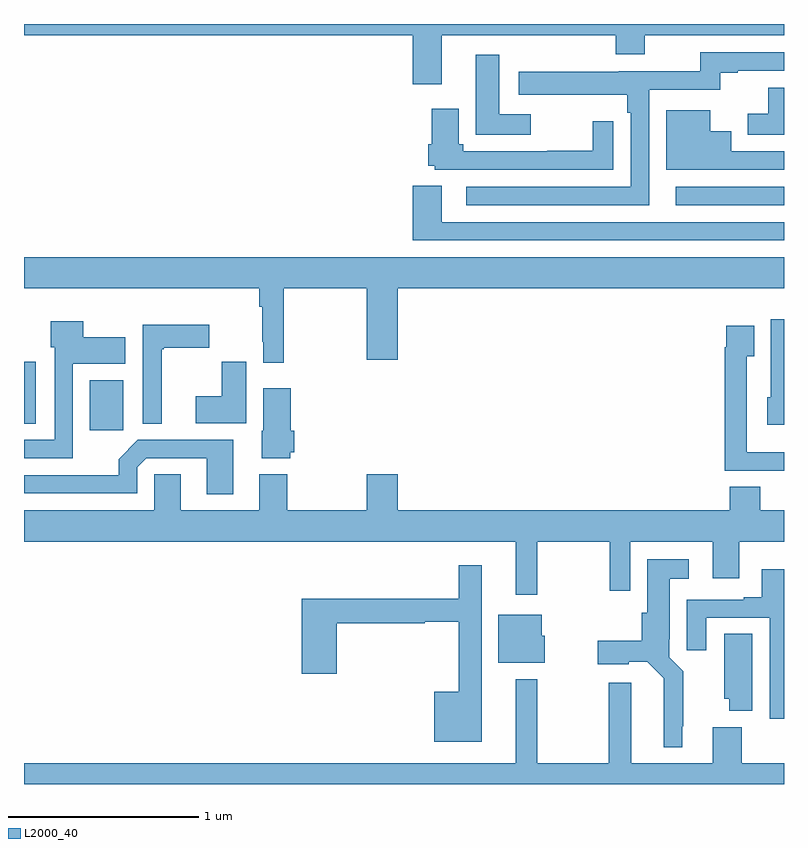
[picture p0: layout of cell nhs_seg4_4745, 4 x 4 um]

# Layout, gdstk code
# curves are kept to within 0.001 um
import gdstk
lib = gdstk.Library(unit=1e-6, precision=1e-09)
def R(c, l, rs):  # rectangles x0, y0, x1, y1
    for r in rs: c.add(gdstk.rectangle(r[:2], r[2:], *l))
def P(c, l, *ps):  # polygons
    for p in ps: c.add(gdstk.Polygon(p, *l))
L2000_40 = (2000, 40)

nhs_seg4_4745 = lib.new_cell('nhs_seg4_4745')
R(nhs_seg4_4745, L2000_40, [(367.346,774.761,367.522,775.024), (367,774.796,367.063,775.123), (370.431,775.947,371,776.043)])
P(nhs_seg4_4745, L2000_40, [(369.199,776.84),(370.115,776.84),(370.115,776.741),(370.267,776.741),(370.267,776.84),(371,776.84),(371,776.9),(367,776.9),(367,776.84),(369.047,776.84),(369.047,776.583),(369.199,776.583)],
  [(370.29,776.553),(370.664,776.553),(370.664,776.643),(370.756,776.643),(370.756,776.655),(371,776.655),(371,776.751),(370.558,776.751),(370.558,776.651),(370.131,776.651),(370.131,776.65),(369.603,776.65),(369.603,776.528),(370.174,776.528),(370.174,776.432),(370.194,776.432),(370.194,776.043),(369.327,776.043),(369.327,775.947),(370.29,775.947)],
  [(369.667,776.425),(369.502,776.425),(369.502,776.737),(369.377,776.737),(369.377,776.318),(369.667,776.318)],
  [(371,776.565),(370.918,776.565),(370.918,776.428),(370.808,776.428),(370.808,776.318),(371,776.318)],
  [(370.101,776.389),(369.993,776.389),(369.993,776.234),(369.754,776.234),(369.754,776.229),(369.311,776.229),(369.311,776.268),(369.289,776.268),(369.289,776.455),(369.146,776.455),(369.146,776.268),(369.128,776.268),(369.128,776.154),(369.162,776.154),(369.162,776.133),(370.101,776.133)],
  [(370.619,776.133),(371,776.133),(371,776.229),(370.723,776.229),(370.723,776.335),(370.612,776.335),(370.612,776.446),(370.379,776.446),(370.379,776.132),(370.619,776.132)],
  [(371,775.857),(369.199,775.857),(369.199,776.048),(369.047,776.048),(369.047,775.761),(371,775.761)],
  [(368.368,775.508),(368.804,775.508),(368.804,775.134),(368.968,775.134),(368.968,775.508),(371,775.508),(371,775.672),(367,775.672),(367,775.508),(368.239,775.508),(368.239,775.412),(368.254,775.412),(368.254,775.228),(368.259,775.228),(368.259,775.116),(368.368,775.116)],
  [(371,775.345),(370.931,775.345),(370.931,774.936),(370.913,774.936),(370.913,774.792),(371,774.792)],
  [(367.257,775.112),(367.534,775.112),(367.534,775.252),(367.311,775.252),(367.311,775.336),(367.142,775.336),(367.142,775.2),(367.161,775.2),(367.161,774.711),(367,774.711),(367,774.615),(367.257,774.615)],
  [(367.724,775.189),(367.735,775.189),(367.735,775.196),(367.975,775.196),(367.975,775.318),(367.626,775.318),(367.626,774.796),(367.724,774.796)],
  [(371,774.646),(370.803,774.646),(370.803,775.151),(370.843,775.151),(370.843,775.312),(370.695,775.312),(370.695,775.199),(370.687,775.199),(370.687,774.549),(370.937,774.549),(370.937,774.548),(371,774.548)],
  [(368.17,775.123),(368.041,775.123),(368.041,774.94),(367.905,774.94),(367.905,774.8),(368.17,774.8)],
  [(368.401,774.645),(368.423,774.645),(368.423,774.759),(368.405,774.759),(368.405,774.982),(368.258,774.982),(368.258,774.759),(368.252,774.759),(368.252,774.614),(368.401,774.614)],
  [(368.101,774.711),(367.599,774.711),(367.498,774.609),(367.498,774.525),(367,774.525),(367,774.429),(367.596,774.429),(367.596,774.567),(367.644,774.615),(367.961,774.615),(367.961,774.426),(368.101,774.426)],
  [(369.701,774.176),(370.083,774.176),(370.083,773.916),(370.191,773.916),(370.191,774.176),(370.625,774.176),(370.625,773.982),(370.765,773.982),(370.765,774.176),(371,774.176),(371,774.34),(370.875,774.34),(370.875,774.464),(370.715,774.464),(370.715,774.34),(368.968,774.34),(368.968,774.529),(368.804,774.529),(368.804,774.34),(368.385,774.34),(368.385,774.529),(368.237,774.529),(368.237,774.34),(367.825,774.34),(367.825,774.53),(367.686,774.53),(367.686,774.34),(367,774.34),(367,774.176),(369.587,774.176),(369.587,773.895),(369.701,773.895)],
  [(370.465,773.203),(370.469,773.203),(370.469,773.494),(370.395,773.568),(370.395,773.662),(370.399,773.662),(370.399,773.981),(370.498,773.981),(370.498,774.082),(370.28,774.082),(370.28,773.802),(370.25,773.802),(370.25,773.653),(370.02,773.653),(370.02,773.531),(370.182,773.531),(370.182,773.543),(370.281,773.543),(370.368,773.456),(370.367,773.093),(370.465,773.093)],
  [(369.409,774.052),(369.288,774.052),(369.288,773.875),(368.462,773.875),(368.462,773.481),(368.645,773.481),(368.645,773.746),(369.109,773.746),(369.109,773.754),(369.288,773.754),(369.288,773.386),(369.158,773.386),(369.158,773.123),(369.409,773.123)],
  [(371,774.031),(370.883,774.031),(370.883,773.884),(370.787,773.884),(370.787,773.871),(370.487,773.871),(370.487,773.604),(370.591,773.604),(370.591,773.775),(370.925,773.775),(370.925,773.244),(371,773.244)],
  [(369.742,773.679),(369.724,773.679),(369.724,773.791),(369.497,773.791),(369.497,773.537),(369.742,773.537)],
  [(370.834,773.69),(370.685,773.69),(370.685,773.349),(370.712,773.349),(370.712,773.285),(370.834,773.285)],
  [(371,773.008),(370.778,773.008),(370.778,773.2),(370.625,773.2),(370.625,773.008),(370.195,773.008),(370.195,773.434),(370.078,773.434),(370.078,773.008),(369.701,773.008),(369.701,773.452),(369.587,773.452),(369.587,773.008),(367,773.008),(367,772.9),(371,772.9)])

lib.write_gds('nhs_seg4_4745.gds')
